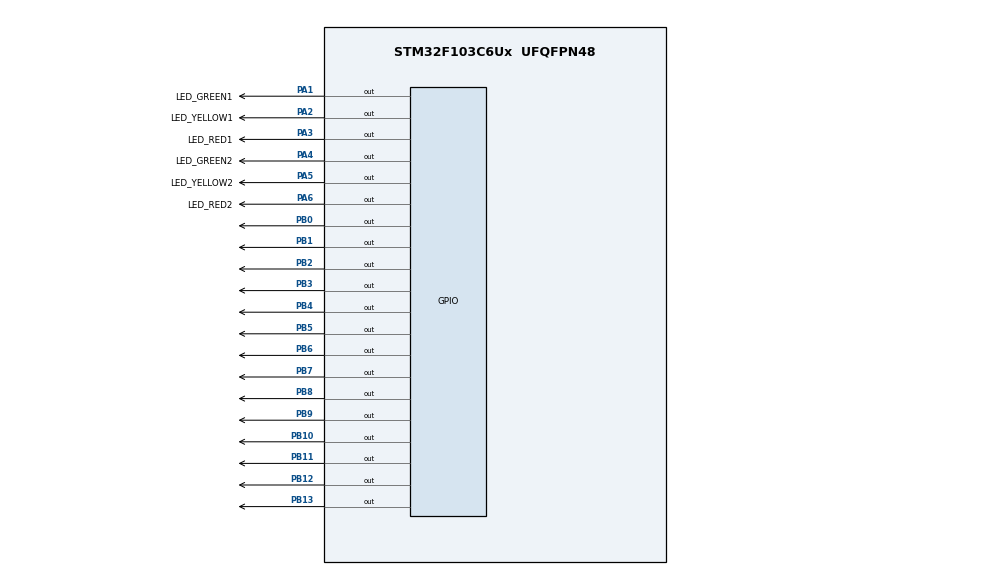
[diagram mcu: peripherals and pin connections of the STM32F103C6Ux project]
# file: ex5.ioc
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Mcu.Family=STM32F1
Mcu.Name=STM32F103C6Ux
Mcu.Package=UFQFPN48
NVIC.PriorityGroup=NVIC_PRIORITYGROUP_4
PA1.GPIO_Label=LED_GREEN1
PA1.Signal=GPIO_Output
PA2.GPIO_Label=LED_YELLOW1
PA2.Signal=GPIO_Output
PA3.GPIO_Label=LED_RED1
PA3.Signal=GPIO_Output
PA4.GPIO_Label=LED_GREEN2
PA4.Signal=GPIO_Output
PA5.GPIO_Label=LED_YELLOW2
PA5.Signal=GPIO_Output
PA6.GPIO_Label=LED_RED2
PA6.Signal=GPIO_Output
PB0.Signal=GPIO_Output
PB1.Signal=GPIO_Output
PB10.Signal=GPIO_Output
PB11.Signal=GPIO_Output
PB12.Signal=GPIO_Output
PB13.Signal=GPIO_Output
PB2.Signal=GPIO_Output
PB3.Signal=GPIO_Output
PB4.Signal=GPIO_Output
PB5.Signal=GPIO_Output
PB6.Signal=GPIO_Output
PB7.Signal=GPIO_Output
PB8.Signal=GPIO_Output
PB9.Signal=GPIO_Output
ProjectManager.HeapSize=0x200
ProjectManager.StackSize=0x400
ProjectManager.TargetToolchain=STM32CubeIDE
RCC.APB1Freq_Value=8000000
RCC.APB2Freq_Value=8000000
VP_SYS_VS_ND.Mode=No_Debug
board=custom

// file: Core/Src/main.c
/* USER CODE BEGIN Header */
/**
  ******************************************************************************
  * @file           : main.c
  * @brief          : Main program body
  ******************************************************************************
  * @attention
  *
  * <h2><center>&copy; Copyright (c) 2022 STMicroelectronics.
  * All rights reserved.</center></h2>
  *
  * This software component is licensed by ST under BSD 3-Clause license,
  * the "License"; You may not use this file except in compliance with the
  * License. You may obtain a copy of the License at:
  *                        opensource.org/licenses/BSD-3-Clause
  *
  ******************************************************************************
  */
/* USER CODE END Header */
#include "main.h"

void SystemClock_Config(void);
static void MX_GPIO_Init(void);

/* USER CODE BEGIN 0 */
void state_7seg(int a ,int b , int c , int d , int e ,int f, int g){
	   HAL_GPIO_WritePin(GPIOB, GPIO_PIN_0,a);
	   HAL_GPIO_WritePin(GPIOB, GPIO_PIN_1,b);
	   HAL_GPIO_WritePin(GPIOB, GPIO_PIN_2,c);
	   HAL_GPIO_WritePin(GPIOB, GPIO_PIN_3,d);
	   HAL_GPIO_WritePin(GPIOB, GPIO_PIN_4,e);
	   HAL_GPIO_WritePin(GPIOB, GPIO_PIN_5,f);
	   HAL_GPIO_WritePin(GPIOB, GPIO_PIN_6,g);
 }
void state_7seg1(int a1, int b1, int c1, int d1, int e1, int f1, int g1){
	   HAL_GPIO_WritePin(GPIOB, GPIO_PIN_7,a1);
	   HAL_GPIO_WritePin(GPIOB, GPIO_PIN_8,b1);
	   HAL_GPIO_WritePin(GPIOB, GPIO_PIN_9,c1);
	   HAL_GPIO_WritePin(GPIOB, GPIO_PIN_10,d1);
	   HAL_GPIO_WritePin(GPIOB, GPIO_PIN_11,e1);
	   HAL_GPIO_WritePin(GPIOB, GPIO_PIN_12,f1);
	   HAL_GPIO_WritePin(GPIOB, GPIO_PIN_13,g1);
}
 void count_led7seg(int num){
	 if (num == 0){
		state_7seg(0,0,0,0,0,0,1);
	 }
	 if (num == 1){
		 state_7seg(1,0,0,1,1,1,1);
	 }
	 if (num == 2){
		 state_7seg(0,0,1,0,0,1,0);
	 }
	 if (num == 3){
		 state_7seg(0,0,0,0,1,1,0);
	 }
	 if (num == 4){
		 state_7seg(1,0,0,1,1,0,0);
	 }
	 if (num == 5){
		 state_7seg(0,1,0,0,1,0,0);
	 }
	 if (num == 6){
		 state_7seg(0,1,0,0,0,0,0);
	 }
	 if(num == 7){
		 state_7seg(0,0,0,1,1,1,1);
	 }
	 if (num == 8){
		 state_7seg(0,0,0,0,0,0,0);
	 }
	 if(num == 9){
		 state_7seg(0,0,0,0,1,0,0);
	 }
	 if(num >= 10){
		 state_7seg(0,0,0,0,0,0,1);
	 }
 }
 void count_led7seg1(int num){
	 if (num == 0){
		state_7seg1(0,0,0,0,0,0,1);
	 }
	 if (num == 1){
		 state_7seg1(1,0,0,1,1,1,1);
	 }
	 if (num == 2){
		 state_7seg1(0,0,1,0,0,1,0);
	 }
	 if (num == 3){
		 state_7seg1(0,0,0,0,1,1,0);
	 }
	 if (num == 4){
		 state_7seg1(1,0,0,1,1,0,0);
	 }
	 if (num == 5){
		 state_7seg1(0,1,0,0,1,0,0);
	 }
	 if (num == 6){
		 state_7seg1(0,1,0,0,0,0,0);
	 }
	 if(num == 7){
		 state_7seg1(0,0,0,1,1,1,1);
	 }
	 if (num == 8){
		 state_7seg1(0,0,0,0,0,0,0);
	 }
	 if(num == 9){
		 state_7seg1(0,0,0,0,1,0,0);
	 }
	 if(num >= 10){
		 state_7seg1(0,0,0,0,0,0,1);
	 }
 }

/* USER CODE END 0 */

int main(void)
{

  /* MCU Configuration--------------------------------------------------------*/

  /* Reset of all peripherals, Initializes the Flash interface and the Systick. */
  HAL_Init();

  /* Configure the system clock */
  SystemClock_Config();

  /* Initialize all configured peripherals */
  MX_GPIO_Init();

  /* Infinite loop */
  /* USER CODE BEGIN WHILE */
  int count = 0;
  HAL_GPIO_WritePin(LED_RED1_GPIO_Port,LED_RED1_Pin,1 );
  HAL_GPIO_WritePin(LED_GREEN1_GPIO_Port, LED_GREEN1_Pin,1);
  HAL_GPIO_WritePin(LED_YELLOW1_GPIO_Port, LED_YELLOW1_Pin,1);
  HAL_GPIO_WritePin(LED_GREEN2_GPIO_Port, LED_GREEN2_Pin,1);
  HAL_GPIO_WritePin(LED_RED2_GPIO_Port,LED_RED2_Pin,1 );
  HAL_GPIO_WritePin(LED_YELLOW2_GPIO_Port, LED_YELLOW2_Pin,1);
  while (1)
  {
  	  count++;
	  if(count <= 5){
		  HAL_GPIO_WritePin(LED_RED1_GPIO_Port,LED_RED1_Pin,0 );
		  HAL_GPIO_WritePin(LED_RED2_GPIO_Port,LED_RED2_Pin,1 );
		  HAL_GPIO_WritePin(LED_YELLOW1_GPIO_Port, LED_YELLOW1_Pin,1);
		  count_led7seg(6-count);
		  if (count <=3){
			  HAL_GPIO_WritePin(LED_GREEN2_GPIO_Port, LED_GREEN2_Pin,0);
			  count_led7seg1(4-count);
		  }
		  else if (count>3 && count <=5){
			  HAL_GPIO_WritePin(LED_GREEN2_GPIO_Port, LED_GREEN2_Pin,1);
			  HAL_GPIO_WritePin(LED_YELLOW2_GPIO_Port, LED_YELLOW2_Pin,0);
			  count_led7seg1(6-count);
		  }
	  }
	  else if (count > 5 && count <= 10){
		  HAL_GPIO_WritePin(LED_RED1_GPIO_Port,LED_RED1_Pin,1 );
		  HAL_GPIO_WritePin(LED_YELLOW2_GPIO_Port, LED_YELLOW2_Pin,1);
		  HAL_GPIO_WritePin(LED_RED2_GPIO_Port,LED_RED2_Pin,0 );
		  count_led7seg1(11-count);
		  if (count <= 8){
			  HAL_GPIO_WritePin(LED_GREEN1_GPIO_Port, LED_GREEN1_Pin,0);
			  count_led7seg(9-count);
		  }
		  else if (count >8 && count <=10){
			  HAL_GPIO_WritePin(LED_YELLOW1_GPIO_Port, LED_YELLOW1_Pin,0);
			  HAL_GPIO_WritePin(LED_GREEN1_GPIO_Port, LED_GREEN1_Pin,1);
			  count_led7seg(11-count);
			  if (count == 10){
				  count = 0;
			  }
		  }
	  }
	  HAL_Delay(1000);
    /* USER CODE END WHILE */

  }
}

void SystemClock_Config(void)
{
  RCC_OscInitTypeDef RCC_OscInitStruct = {0};
  RCC_ClkInitTypeDef RCC_ClkInitStruct = {0};

  /** Initializes the RCC Oscillators according to the specified parameters
  * in the RCC_OscInitTypeDef structure.
  */
  RCC_OscInitStruct.OscillatorType = RCC_OSCILLATORTYPE_HSI;
  RCC_OscInitStruct.HSIState = RCC_HSI_ON;
  RCC_OscInitStruct.HSICalibrationValue = RCC_HSICALIBRATION_DEFAULT;
  RCC_OscInitStruct.PLL.PLLState = RCC_PLL_NONE;
  if (HAL_RCC_OscConfig(&RCC_OscInitStruct) != HAL_OK)
  {
    Error_Handler();
  }
  /** Initializes the CPU, AHB and APB buses clocks
  */
  RCC_ClkInitStruct.ClockType = RCC_CLOCKTYPE_HCLK|RCC_CLOCKTYPE_SYSCLK
                              |RCC_CLOCKTYPE_PCLK1|RCC_CLOCKTYPE_PCLK2;
  RCC_ClkInitStruct.SYSCLKSource = RCC_SYSCLKSOURCE_HSI;
  RCC_ClkInitStruct.AHBCLKDivider = RCC_SYSCLK_DIV1;
  RCC_ClkInitStruct.APB1CLKDivider = RCC_HCLK_DIV1;
  RCC_ClkInitStruct.APB2CLKDivider = RCC_HCLK_DIV1;

  if (HAL_RCC_ClockConfig(&RCC_ClkInitStruct, FLASH_LATENCY_0) != HAL_OK)
  {
    Error_Handler();
  }
}

static void MX_GPIO_Init(void)
{
  GPIO_InitTypeDef GPIO_InitStruct = {0};

  /* GPIO Ports Clock Enable */
  __HAL_RCC_GPIOA_CLK_ENABLE();
  __HAL_RCC_GPIOB_CLK_ENABLE();

  /*Configure GPIO pin Output Level */
  HAL_GPIO_WritePin(GPIOA, LED_GREEN1_Pin|LED_YELLOW1_Pin|LED_RED1_Pin|LED_GREEN2_Pin
                          |LED_YELLOW2_Pin|LED_RED2_Pin, GPIO_PIN_RESET);

  /*Configure GPIO pin Output Level */
  HAL_GPIO_WritePin(GPIOB, GPIO_PIN_0|GPIO_PIN_1|GPIO_PIN_2|GPIO_PIN_10
                          |GPIO_PIN_11|GPIO_PIN_12|GPIO_PIN_13|GPIO_PIN_3
                          |GPIO_PIN_4|GPIO_PIN_5|GPIO_PIN_6|GPIO_PIN_7
                          |GPIO_PIN_8|GPIO_PIN_9, GPIO_PIN_RESET);

  /*Configure GPIO pins : LED_GREEN1_Pin LED_YELLOW1_Pin LED_RED1_Pin LED_GREEN2_Pin
                           LED_YELLOW2_Pin LED_RED2_Pin */
  GPIO_InitStruct.Pin = LED_GREEN1_Pin|LED_YELLOW1_Pin|LED_RED1_Pin|LED_GREEN2_Pin
                          |LED_YELLOW2_Pin|LED_RED2_Pin;
  GPIO_InitStruct.Mode = GPIO_MODE_OUTPUT_PP;
  GPIO_InitStruct.Pull = GPIO_NOPULL;
  GPIO_InitStruct.Speed = GPIO_SPEED_FREQ_LOW;
  HAL_GPIO_Init(GPIOA, &GPIO_InitStruct);

  /*Configure GPIO pins : PB0 PB1 PB2 PB10
                           PB11 PB12 PB13 PB3
                           PB4 PB5 PB6 PB7
                           PB8 PB9 */
  GPIO_InitStruct.Pin = GPIO_PIN_0|GPIO_PIN_1|GPIO_PIN_2|GPIO_PIN_10
                          |GPIO_PIN_11|GPIO_PIN_12|GPIO_PIN_13|GPIO_PIN_3
                          |GPIO_PIN_4|GPIO_PIN_5|GPIO_PIN_6|GPIO_PIN_7
                          |GPIO_PIN_8|GPIO_PIN_9;
  GPIO_InitStruct.Mode = GPIO_MODE_OUTPUT_PP;
  GPIO_InitStruct.Pull = GPIO_NOPULL;
  GPIO_InitStruct.Speed = GPIO_SPEED_FREQ_LOW;
  HAL_GPIO_Init(GPIOB, &GPIO_InitStruct);

}

void Error_Handler(void)
{
  __disable_irq();
  while (1)
  {
  }
}

/************************ (C) COPYRIGHT STMicroelectronics *****END OF FILE****/
